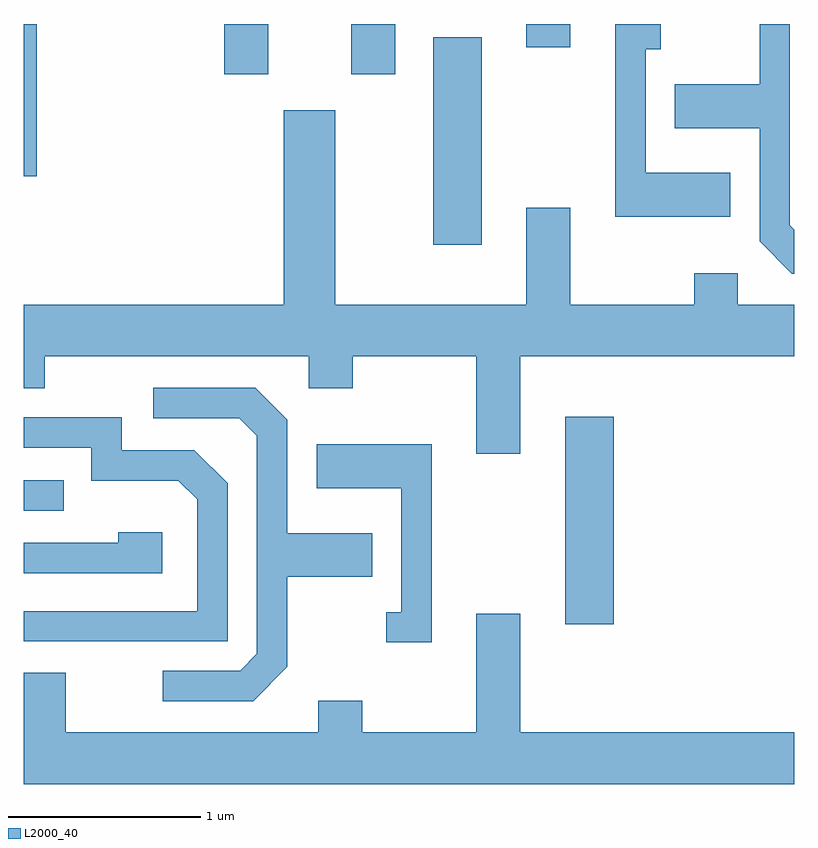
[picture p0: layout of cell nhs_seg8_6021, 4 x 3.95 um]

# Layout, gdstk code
import gdstk
lib = gdstk.Library(unit=1e-6, precision=1e-09)
def R(c, l, rs):  # rectangles x0, y0, x1, y1
    for r in rs: c.add(gdstk.rectangle(r[:2], r[2:], *l))
def P(c, l, *ps):  # polygons
    for p in ps: c.add(gdstk.Polygon(p, *l))
L2000_40 = (2000, 40)

nhs_seg8_6021 = lib.new_cell('nhs_seg8_6021')
R(nhs_seg8_6021, L2000_40, [(368.421,1857.226,368.674,1858.304), (365.611,1857.816,365.818,1857.974), (367.736,1859.196,367.989,1860.274), (365.611,1859.551,365.679,1860.342), (366.651,1860.081,366.879,1860.342), (367.311,1860.081,367.539,1860.342), (368.221,1860.221,368.449,1860.342)])
P(nhs_seg8_6021, L2000_40, [(369.279,1859.569),(368.839,1859.569),(368.839,1860.211),(368.918,1860.211),(368.918,1860.342),(368.681,1860.342),(368.681,1859.341),(369.279,1859.341)],
  [(369.611,1859.275),(369.589,1859.297),(369.589,1860.342),(369.431,1860.342),(369.431,1860.029),(368.991,1860.029),(368.991,1859.801),(369.431,1859.801),(369.431,1859.214),(369.599,1859.046),(369.611,1859.046)],
  [(368.189,1858.616),(369.611,1858.616),(369.611,1858.884),(369.319,1858.884),(369.319,1859.049),(369.091,1859.049),(369.091,1858.884),(368.449,1858.884),(368.449,1859.389),(368.221,1859.389),(368.221,1858.884),(367.229,1858.884),(367.229,1859.894),(366.961,1859.894),(366.961,1858.884),(365.611,1858.884),(365.611,1858.451),(365.719,1858.451),(365.719,1858.616),(367.091,1858.616),(367.091,1858.451),(367.319,1858.451),(367.319,1858.616),(367.961,1858.616),(367.961,1858.111),(368.189,1858.111)],
  [(366.979,1857.004),(366.979,1857.471),(367.419,1857.471),(367.419,1857.699),(366.979,1857.699),(366.979,1858.287),(366.812,1858.454),(366.283,1858.454),(366.283,1858.296),(366.729,1858.296),(366.821,1858.204),(366.821,1857.072),(366.734,1856.984),(366.333,1856.984),(366.333,1856.826),(366.802,1856.826)],
  [(366.669,1857.957),(366.497,1858.129),(366.119,1858.129),(366.119,1858.299),(365.611,1858.299),(365.611,1858.141),(365.961,1858.141),(365.961,1857.971),(366.414,1857.971),(366.511,1857.874),(366.511,1857.294),(365.611,1857.294),(365.611,1857.136),(366.669,1857.136)],
  [(367.729,1858.159),(367.131,1858.159),(367.131,1857.931),(367.571,1857.931),(367.571,1857.289),(367.493,1857.289),(367.493,1857.131),(367.729,1857.131)],
  [(366.329,1857.704),(366.101,1857.704),(366.101,1857.649),(365.611,1857.649),(365.611,1857.491),(366.329,1857.491)],
  [(369.611,1856.664),(368.189,1856.664),(368.189,1857.279),(367.961,1857.279),(367.961,1856.664),(367.369,1856.664),(367.369,1856.829),(367.141,1856.829),(367.141,1856.664),(365.829,1856.664),(365.829,1856.974),(365.611,1856.974),(365.611,1856.396),(369.611,1856.396)])

lib.write_gds('nhs_seg8_6021.gds')
